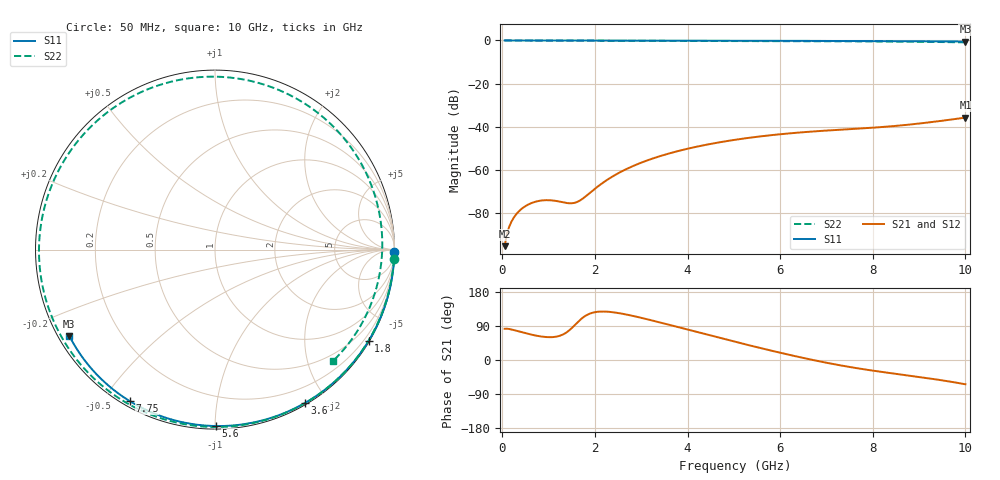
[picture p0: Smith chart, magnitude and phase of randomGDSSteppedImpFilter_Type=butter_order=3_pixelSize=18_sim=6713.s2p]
! freq	dB(S11)	phase(S11)	dB(S12)	phase(S12)
!  dB(S21)	phase(S21)	dB(S22)	phase(S22)
!S-par simulation data
#  GHz  S  DB  R 50
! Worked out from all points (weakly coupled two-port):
!   200 points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, 50 MHz to 10 GHz, reference 50 ohm
!   highest |S21| = -35.71 dB at 10 GHz (marker M1); lowest = -95.2 dB at 50 MHz (marker M2)
!   lowest |S11| = -0.5 dB at 10 GHz (marker M3), VSWR 34.41, Z = 1.56 - j13.7 ohm
!   |S11| at or under -10 dB: nowhere
!   |S22| runs from -0.9 to 0.0 dB; largest |S21 - S12| = 0
!   S11 on the Smith chart (normalised r, x): 50 MHz: open; 1.8 GHz: 0.03, -3.65; 3.6 GHz: 0.02, -1.74; 5.6 GHz: 0.02, -1.00; 7.75 GHz: 0.02, -0.58; 10 GHz: 0.03, -0.27
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0.05  -0.00 -0.8  -95.20 82.4  -95.20 82.4  -0.01 -3.0
0.3  -0.01 -5.2  -80.45 77.3  -80.45 77.3  -0.04 -18.6
0.6  -0.01 -10.3  -75.53 67.8  -75.53 67.8  -0.05 -36.9
0.9  -0.02 -15.5  -73.96 61.1  -73.96 61.1  -0.07 -54.3
1.5  -0.03 -25.6  -75.35 84.2  -75.35 84.2  -0.10 -86.1
1.75  -0.04 -29.8  -73.00 112.8  -73.00 112.8  -0.11 -98.1
1.8  -0.04 -30.7  -72.17 116.9  -72.17 116.9  -0.11 -100.4
2.5  -0.05 -42.2  -61.49 124.1  -61.49 124.1  -0.13 -130.0
3.4  -0.08 -56.6  -53.58 99.2  -53.58 99.2  -0.15 -162.5
3.6  -0.08 -59.8  -52.31 93.0  -52.31 93.0  -0.16 -169.2
4.3  -0.10 -70.5  -48.71 70.8  -48.71 70.8  -0.18 168.3
5.05  -0.13 -81.7  -45.90 47.4  -45.90 47.4  -0.22 144.7
5.6  -0.15 -89.7  -44.33 30.8  -44.33 30.8  -0.25 127.2
6.15  -0.17 -97.5  -43.10 15.0  -43.10 15.0  -0.28 109.1
6.7  -0.21 -105.2  -42.14 0.2  -42.14 0.2  -0.32 90.1
7.25  -0.24 -112.7  -41.37 -13.0  -41.37 -13.0  -0.37 70.0
7.75  -0.28 -119.4  -40.72 -23.4  -40.72 -23.4  -0.42 50.8
8.35  -0.33 -127.4  -39.81 -34.0  -39.81 -34.0  -0.50 26.7
8.75  -0.37 -132.7  -39.03 -40.5  -39.03 -40.5  -0.57 10.0
9.15  -0.41 -138.0  -38.08 -47.3  -38.08 -47.3  -0.65 -7.0
9.55  -0.45 -143.3  -37.02 -54.7  -37.02 -54.7  -0.75 -24.1
10  -0.50 -149.3  -35.71 -64.0  -35.71 -64.0  -0.88 -43.3
